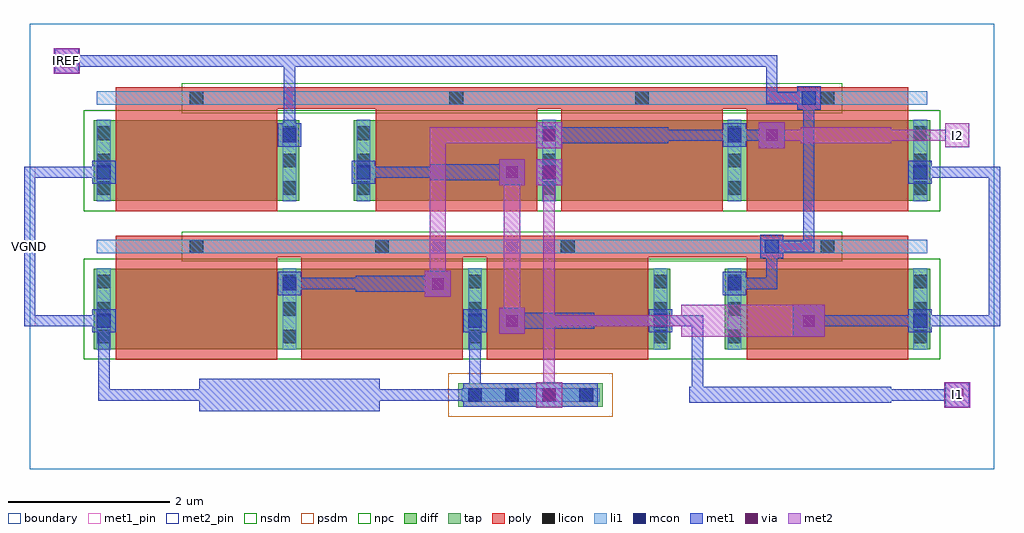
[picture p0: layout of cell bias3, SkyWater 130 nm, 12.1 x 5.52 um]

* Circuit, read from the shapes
.subckt bias3 I1 I2 IREF VGND
XM1 I2 IREF VGND VGND sky130_fd_pr__nfet_01v8 w=1 l=2 m=4
XM2 IREF IREF VGND VGND sky130_fd_pr__nfet_01v8 w=1 l=2 m=2
XM3 VGND IREF I1 VGND sky130_fd_pr__nfet_01v8 w=1 l=2 m=2
.ends

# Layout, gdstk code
import gdstk
lib = gdstk.Library(unit=1e-6, precision=1e-09)
def R(c, l, rs):  # rectangles x0, y0, x1, y1
    for r in rs: c.add(gdstk.rectangle(r[:2], r[2:], *l))
def A(c, l, x, y, w, h, nx, ny, dx, dy):  # array of equal rectangles
    R(c, l, [(x+i*dx, y+j*dy, x+i*dx+w, y+j*dy+h) for i in range(nx) for j in range(ny)])
diff = (65, 20)
tap = (65, 44)
poly = (66, 20)
licon = (66, 44)
li1 = (67, 20)
mcon = (67, 44)
met1_pin = (68, 16)
met1 = (68, 20)
via = (68, 44)
met2_pin = (69, 16)
met2 = (69, 20)
nsdm = (93, 44)
psdm = (94, 20)
npc = (95, 20)
boundary = (235, 4)

bias3 = lib.new_cell('bias3')
R(bias3, diff, [(0.795,1.485,7.945,2.485), (8.615,1.485,11.165,2.485), (0.795,3.325,3.345,4.325), (4.015,3.325,11.165,4.325)])
R(bias3, tap, [(5.315,0.775,7.105,1.065)])
A(bias3, poly, 1.07, 1.355, 2, 1.405, 3, 1, 2.3, 0)
A(bias3, poly, 4.29, 3.195, 2, 1.405, 3, 1, 2.3, 0)
R(bias3, poly, [(8.89,1.355,10.89,2.76), (1.07,2.625,10.89,2.895), (1.07,3.195,3.07,4.6), (1.07,4.465,10.89,4.735)])
A(bias3, licon, 5.435, 0.835, 0.17, 0.17, 4, 1, 0.46, 0)
A(bias3, licon, 0.835, 1.56, 0.17, 0.17, 4, 3, 2.3, 0.34)
A(bias3, licon, 8.655, 1.56, 0.17, 0.17, 1, 3, 0, 0.34)
A(bias3, licon, 10.955, 1.56, 0.17, 0.17, 1, 3, 0, 0.34)
A(bias3, licon, 1.985, 2.675, 0.17, 0.17, 3, 1, 2.3, 0)
A(bias3, licon, 0.835, 3.4, 0.17, 0.17, 1, 3, 0, 0.34)
A(bias3, licon, 3.135, 3.4, 0.17, 0.17, 1, 3, 0, 0.34)
A(bias3, licon, 4.055, 3.4, 0.17, 0.17, 4, 3, 2.3, 0.34)
A(bias3, licon, 5.205, 4.515, 0.17, 0.17, 3, 1, 2.3, 0)
R(bias3, licon, [(9.805,2.675,9.975,2.845), (1.985,4.515,2.155,4.685)])
A(bias3, li1, 0.835, 1.48, 0.17, 1.01, 4, 1, 2.3, 0)
A(bias3, li1, 4.055, 3.32, 0.17, 1.01, 4, 1, 2.3, 0)
R(bias3, li1, [(5.355,0.835,7.065,1.005), (8.655,1.48,8.825,2.49), (10.955,1.48,11.125,2.49), (0.835,2.675,11.125,2.845), (0.835,3.32,1.005,4.33), (3.135,3.32,3.305,4.33), (0.835,4.515,11.125,4.685)])
A(bias3, mcon, 5.435, 0.835, 0.17, 0.17, 4, 1, 0.46, 0)
R(bias3, mcon, [(0.835,1.755,1.005,1.925), (5.435,1.755,5.605,1.925), (7.735,1.755,7.905,1.925), (10.955,1.755,11.125,1.925), (3.135,2.215,3.305,2.385), (8.655,2.215,8.825,2.385), (9.115,2.675,9.285,2.845), (0.835,3.595,1.005,3.765), (4.055,3.595,4.225,3.765), (6.355,3.595,6.525,3.765), (10.955,3.595,11.125,3.765), (3.135,4.055,3.305,4.225), (8.655,4.055,8.825,4.225), (9.575,4.515,9.745,4.685)])
R(bias3, met1_pin, [(-0.07,1.77,0.07,3.75)])
R(bias3, met1, [(2.1,0.72,4.34,1.12), (6.28,0.76,6.6,1.08), (11.34,0.76,11.66,1.08), (5.375,0.775,7.045,1.065), (8.18,0.82,10.68,1.02), (0.85,0.85,0.99,1.91), (0.85,0.85,2.37,0.99), (4.07,0.85,5.59,0.99), (5.45,0.85,5.59,1.91), (5.45,0.85,6.51,0.99), (6.37,0.85,6.51,0.99), (8.21,0.85,8.35,1.91), (10.51,0.85,11.57,0.99), (9.46,1.64,9.86,2.04), (5.82,1.68,6.14,2), (0.775,1.695,1.065,1.985), (5.375,1.695,5.665,1.985), (7.675,1.695,7.965,1.985), (10.895,1.695,11.185,1.985), (5.88,1.74,7,1.94), (-0.07,1.77,0.07,3.75), (-0.07,1.77,0.99,1.91), (6.83,1.77,7.89,1.91), (7.75,1.77,8.35,1.91), (9.59,1.77,11.11,1.91), (10.97,1.77,12.03,1.91), (11.89,1.77,12.03,3.75), (4.9,2.14,5.22,2.46), (3.075,2.155,3.365,2.445), (8.595,2.155,8.885,2.445), (4.04,2.2,5.16,2.4), (3.15,2.23,4.21,2.37), (8.67,2.23,9.27,2.37), (9.13,2.23,9.27,2.83), (9.055,2.615,9.345,2.905), (9.13,2.69,9.73,2.83), (9.59,2.69,9.73,4.67), (5.82,3.52,6.14,3.84), (6.28,3.52,6.6,3.84), (0.775,3.535,1.065,3.825), (3.995,3.535,4.285,3.825), (6.295,3.535,6.585,3.825), (10.895,3.535,11.185,3.825), (4.96,3.58,6.08,3.78), (-0.07,3.61,0.99,3.75), (4.07,3.61,5.13,3.75), (10.97,3.61,12.03,3.75), (6.28,3.98,6.6,4.3), (9.04,3.98,9.36,4.3), (3.075,3.995,3.365,4.285), (8.595,3.995,8.885,4.285), (6.34,4.04,7.92,4.24), (3.15,4.07,3.29,5.13), (7.75,4.07,8.81,4.21), (8.67,4.07,9.27,4.21), (9.515,4.455,9.805,4.745), (9.13,4.53,9.73,4.67), (9.13,4.53,9.27,5.13), (0.3,4.9,0.62,5.22), (0.39,4.99,3.29,5.13), (3.15,4.99,9.27,5.13)])
R(bias3, via, [(6.365,0.845,6.515,0.995), (11.425,0.845,11.575,0.995), (5.905,1.765,6.055,1.915), (9.585,1.765,9.735,1.915), (4.985,2.225,5.135,2.375), (5.905,3.605,6.055,3.755), (6.365,3.605,6.515,3.755), (6.365,4.065,6.515,4.215), (9.125,4.065,9.275,4.215), (0.385,4.985,0.535,5.135)])
R(bias3, met2_pin, [(11.35,0.77,11.65,1.07), (11.35,3.99,11.65,4.29), (0.31,4.91,0.61,5.21)])
R(bias3, met2, [(6.28,0.76,6.6,1.08), (11.34,0.76,11.66,1.08), (11.35,0.77,11.65,1.07), (6.37,0.85,6.51,3.75), (11.43,0.85,11.57,0.99), (8.08,1.64,9.86,2.04), (9.46,1.64,9.86,2.04), (5.82,1.68,6.14,2), (5.88,1.74,6.08,3.78), (6.37,1.77,8.35,1.91), (4.9,2.14,5.22,2.46), (4.96,2.2,5.16,4.24), (5.82,3.52,6.14,3.84), (6.28,3.52,6.6,3.84), (6.28,3.98,6.6,4.3), (9.04,3.98,9.36,4.3), (11.35,3.99,11.65,4.29), (4.96,4.04,6.54,4.24), (9.56,4.04,10.68,4.24), (9.13,4.07,9.73,4.21), (10.51,4.07,11.57,4.21), (11.43,4.07,11.57,4.21), (0.3,4.9,0.62,5.22), (0.31,4.91,0.61,5.21), (0.39,4.99,0.53,5.13)])
R(bias3, nsdm, [(0.67,1.36,11.29,2.61), (0.67,3.2,11.29,4.45)])
R(bias3, psdm, [(5.19,0.65,7.23,1.19)])
R(bias3, npc, [(1.885,2.575,10.075,2.945), (1.885,4.415,10.075,4.785)])
R(bias3, boundary, [(0,0,11.96,5.52)])
bias3.add(gdstk.Label('VGND', (0,2.76), layer=68, texttype=5))
bias3.add(gdstk.Label('IREF', (0.46,5.06), layer=69, texttype=5))
bias3.add(gdstk.Label('I1', (11.5,0.92), layer=69, texttype=5))
bias3.add(gdstk.Label('I2', (11.5,4.14), layer=69, texttype=5))
bias3.add(gdstk.Label('VGND', (0,2.76), layer=68, texttype=16))
bias3.add(gdstk.Label('IREF', (0.46,5.06), layer=69, texttype=16))
bias3.add(gdstk.Label('I1', (11.5,0.92), layer=69, texttype=16))
bias3.add(gdstk.Label('I2', (11.5,4.14), layer=69, texttype=16))

lib.write_gds('bias3.gds')
